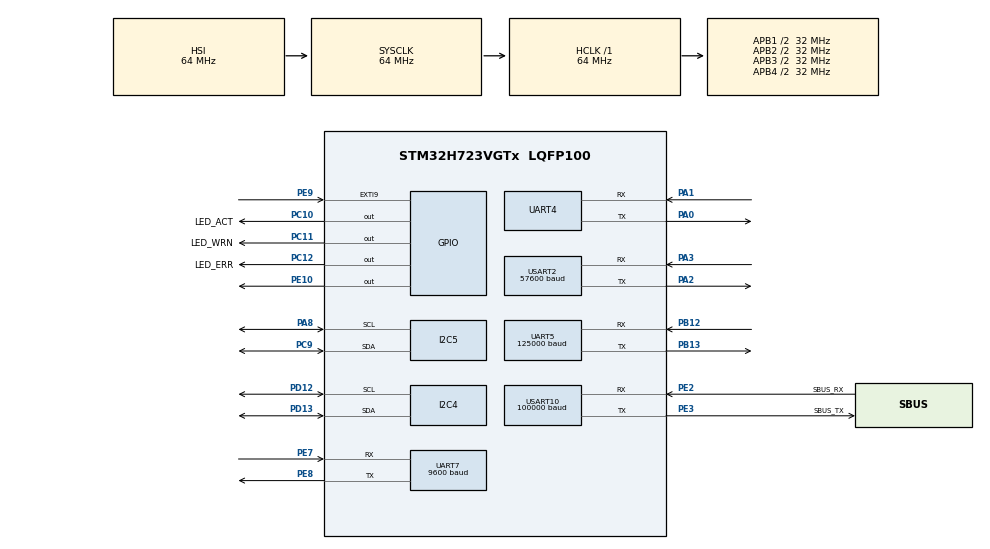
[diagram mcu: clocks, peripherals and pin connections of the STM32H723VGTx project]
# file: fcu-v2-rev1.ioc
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CORTEX_M7.AccessPermission-Cortex_Memory_Protection_Unit_Region0_Settings=MPU_REGION_FULL_ACCESS
CORTEX_M7.BaseAddress-Cortex_Memory_Protection_Unit_Region0_Settings=0x24000224
CORTEX_M7.DisableExec-Cortex_Memory_Protection_Unit_Region0_Settings=MPU_INSTRUCTION_ACCESS_DISABLE
CORTEX_M7.Enable-Cortex_Memory_Protection_Unit_Region0_Settings=MPU_REGION_ENABLE
CORTEX_M7.Enable-Cortex_Memory_Protection_Unit_Region1_Settings=__NULL
CORTEX_M7.IsShareable-Cortex_Memory_Protection_Unit_Region0_Settings=MPU_ACCESS_NOT_SHAREABLE
CORTEX_M7.MPU_Control=MPU_PRIVILEGED_DEFAULT
CORTEX_M7.Size-Cortex_Memory_Protection_Unit_Region0_Settings=MPU_REGION_SIZE_256B
I2C4.Timing=0x00707CBB
I2C5.Timing=0x00707CBB
Mcu.Family=STM32H7
Mcu.Name=STM32H723VGTx
Mcu.Package=LQFP100
NVIC.EXTI9_5_IRQn=true\:0\:0\:false\:false\:true\:true\:true\:true
NVIC.PriorityGroup=NVIC_PRIORITYGROUP_4
NVIC.UART5_IRQn=true\:0\:0\:false\:false\:true\:true\:true\:true
NVIC.UART7_IRQn=true\:0\:0\:false\:false\:true\:true\:true\:true
NVIC.USART10_IRQn=true\:0\:0\:false\:false\:true\:true\:true\:true
NVIC.USART2_IRQn=true\:0\:0\:false\:false\:true\:true\:true\:true
PA0.Mode=Asynchronous
PA0.Signal=UART4_TX
PA1.Mode=Asynchronous
PA1.Signal=UART4_RX
PA13(JTMS/SWDIO).GPIO_Label=SWDIO
PA13(JTMS/SWDIO).Mode=Serial_Wire
PA13(JTMS/SWDIO).Signal=DEBUG_JTMS-SWDIO
PA14(JTCK/SWCLK).GPIO_Label=SWCLK
PA14(JTCK/SWCLK).Mode=Serial_Wire
PA14(JTCK/SWCLK).Signal=DEBUG_JTCK-SWCLK
PA2.Mode=Asynchronous
PA2.Signal=USART2_TX
PA3.Mode=Asynchronous
PA3.Signal=USART2_RX
PA8.Mode=I2C
PA8.Signal=I2C5_SCL
PB12.Mode=Asynchronous
PB12.Signal=UART5_RX
PB13.Mode=Asynchronous
PB13.Signal=UART5_TX
PC10.GPIO_Label=LED_ACT
PC10.PinState=GPIO_PIN_SET
PC10.Signal=GPIO_Output
PC11.GPIO_Label=LED_WRN
PC11.PinState=GPIO_PIN_SET
PC11.Signal=GPIO_Output
PC12.GPIO_Label=LED_ERR
PC12.PinState=GPIO_PIN_SET
PC12.Signal=GPIO_Output
PC9.Mode=I2C
PC9.Signal=I2C5_SDA
PD12.Mode=I2C
PD12.Signal=I2C4_SCL
PD13.Mode=I2C
PD13.Signal=I2C4_SDA
PE10.Signal=GPIO_Output
PE2.GPIO_Label=SBUS_RX
PE2.Mode=Asynchronous
PE2.Signal=USART10_RX
PE3.GPIO_Label=SBUS_TX
PE3.Mode=Asynchronous
PE3.Signal=USART10_TX
PE7.Mode=Asynchronous
PE7.Signal=UART7_RX
PE8.Mode=Asynchronous
PE8.Signal=UART7_TX
PE9.GPIO_ModeDefaultEXTI=GPIO_MODE_IT_RISING_FALLING
PE9.GPIO_PuPd=GPIO_PULLDOWN
PE9.Signal=GPXTI9
ProjectManager.HeapSize=0x200
ProjectManager.StackSize=0x400
ProjectManager.TargetToolchain=STM32CubeIDE
RCC.ADCFreq_Value=129000000
RCC.APB1Freq_Value=32000000
RCC.APB2Freq_Value=32000000
RCC.APB3Freq_Value=32000000
RCC.APB4Freq_Value=32000000
RCC.CortexFreq_Value=64000000
RCC.D1PPRE=RCC_APB3_DIV2
RCC.D2PPRE1=RCC_APB1_DIV2
RCC.D2PPRE2=RCC_APB2_DIV2
RCC.D3PPRE=RCC_APB4_DIV2
RCC.DIVM1=4
RCC.DIVM3=16
RCC.DIVN1=12
RCC.DIVP1=1
RCC.HCLKFreq_Value=64000000
RCC.HSE_VALUE=50000000
RCC.PLL2FRACN=0
RCC.PLL3FRACN=0
RCC.PLLFRACN=4096
RCC.SYSCLKFreq_VALUE=64000000
RCC.USBFreq_Value=100000000
TIM3.Period=0xFFFF-1
TIM3.Prescaler=320-1
UART4.WordLength=WORDLENGTH_8B
UART5.BaudRate=125000
UART7.BaudRate=9600
USART10.BaudRate=100000
USART10.Parity=PARITY_EVEN
USART10.RxPinLevelInvertParam=ADVFEATURE_RXINV_ENABLE
USART10.StopBits=STOPBITS_1
USART10.TxPinLevelInvertParam=ADVFEATURE_TXINV_ENABLE
USART10.VirtualMode=VM_ASYNC
USART10.WordLength=WORDLENGTH_9B
USART2.BaudRate=57600
USART2.SwapParam=ADVFEATURE_SWAP_ENABLE
USART2.VirtualMode-Asynchronous=VM_ASYNC
VP_TIM3_VS_ClockSourceINT.Mode=Internal
board=custom

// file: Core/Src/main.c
/* USER CODE BEGIN Header */
/**
  ******************************************************************************
  * @file           : main.c
  * @brief          : Main program body
  ******************************************************************************
  * @attention
  *
  * Copyright (c) 2023 STMicroelectronics.
  * All rights reserved.
  *
  * This software is licensed under terms that can be found in the LICENSE file
  * in the root directory of this software component.
  * If no LICENSE file comes with this software, it is provided AS-IS.
  *
  ******************************************************************************
  */
/* USER CODE END Header */
#include "main.h"

/* USER CODE BEGIN Includes */
#include "stdio.h"
#include "stdint.h"
#include "string.h"
#include "stm32h7xx_hal.h"
#include "stm32h7xx_hal_uart.h"
#include "stm32h7xx_hal_uart_ex.h"
#include "application.h"
#include "_text.h"
#include "interrupts.h"
/* USER CODE END Includes */

I2C_HandleTypeDef hi2c4;
I2C_HandleTypeDef hi2c5;

TIM_HandleTypeDef htim3;

UART_HandleTypeDef huart4;
UART_HandleTypeDef huart5;
UART_HandleTypeDef huart7;
UART_HandleTypeDef huart2;
UART_HandleTypeDef huart10;

void SystemClock_Config(void);
static void MPU_Initialize(void);
static void MPU_Config(void);
static void MX_GPIO_Init(void);
static void MX_I2C5_Init(void);
static void MX_I2C4_Init(void);
static void MX_UART4_Init(void);
static void MX_UART7_Init(void);
static void MX_UART5_Init(void);
static void MX_USART10_UART_Init(void);
static void MX_USART2_UART_Init(void);
static void MX_TIM3_Init(void);

/* USER CODE BEGIN 0 */

void FAIL(void)
{
	debugWriteError(textClassNameCInterrupts, __LINE__, textFaultHard);
	HAL_GPIO_WritePin(GPIOC, GPIO_PIN_10, GPIO_PIN_RESET);
	HAL_GPIO_WritePin(GPIOC, GPIO_PIN_11, GPIO_PIN_RESET);
	HAL_GPIO_WritePin(GPIOC, GPIO_PIN_12, GPIO_PIN_SET);
	while (1);
}
void ASSERT(int condition)
{
	if (condition == 0)
		FAIL();
}
/* USER CODE END 0 */

int main(void)
{

  /* MCU Configuration--------------------------------------------------------*/

  /* Reset of all peripherals, Initializes the Flash interface and the Systick. */
  HAL_Init();

  /* MPU Configuration--------------------------------------------------------*/
  MPU_Config();

  /* Configure the system clock */
  SystemClock_Config();

  /* Initialize all configured peripherals */
  MX_GPIO_Init();
  MX_I2C5_Init();
  MX_I2C4_Init();
  MX_UART4_Init();
  MX_UART7_Init();
  MX_UART5_Init();
  MX_USART10_UART_Init();
  MX_USART2_UART_Init();
  MX_TIM3_Init();
  /* USER CODE BEGIN 2 */

  // configure global debugging...
  debugSetUart(&huart4);

  // ensure nvic interrupts are enabled...
  //__enable_irq();

  // enable uart interrupts...
  huart2.Instance->CR1  |= USART_CR1_RXNEIE;
  huart4.Instance->CR1  |= USART_CR1_RXNEIE;
  huart5.Instance->CR1  |= USART_CR1_RXNEIE;
  huart7.Instance->CR1  |= USART_CR1_RXNEIE;
  huart10.Instance->CR1 |= USART_CR1_RXNEIE;

  // start timer3...
  HAL_TIM_Base_Start(&htim3);

  // jump to the c++ application...
  applicationRun();

  /* USER CODE END 2 */

  /* Infinite loop */

}

void SystemClock_Config(void)
{
  RCC_OscInitTypeDef RCC_OscInitStruct = {0};
  RCC_ClkInitTypeDef RCC_ClkInitStruct = {0};

  /** Supply configuration update enable
  */
  HAL_PWREx_ConfigSupply(PWR_LDO_SUPPLY);

  /** Configure the main internal regulator output voltage
  */
  __HAL_PWR_VOLTAGESCALING_CONFIG(PWR_REGULATOR_VOLTAGE_SCALE3);

  while(!__HAL_PWR_GET_FLAG(PWR_FLAG_VOSRDY)) {}

  /** Initializes the RCC Oscillators according to the specified parameters
  * in the RCC_OscInitTypeDef structure.
  */
  RCC_OscInitStruct.OscillatorType = RCC_OSCILLATORTYPE_HSI;
  RCC_OscInitStruct.HSIState = RCC_HSI_DIV1;
  RCC_OscInitStruct.HSICalibrationValue = 64;
  RCC_OscInitStruct.PLL.PLLState = RCC_PLL_NONE;
  if (HAL_RCC_OscConfig(&RCC_OscInitStruct) != HAL_OK)
  {
    Error_Handler();
  }

  /** Initializes the CPU, AHB and APB buses clocks
  */
  RCC_ClkInitStruct.ClockType = RCC_CLOCKTYPE_HCLK|RCC_CLOCKTYPE_SYSCLK
                              |RCC_CLOCKTYPE_PCLK1|RCC_CLOCKTYPE_PCLK2
                              |RCC_CLOCKTYPE_D3PCLK1|RCC_CLOCKTYPE_D1PCLK1;
  RCC_ClkInitStruct.SYSCLKSource = RCC_SYSCLKSOURCE_HSI;
  RCC_ClkInitStruct.SYSCLKDivider = RCC_SYSCLK_DIV1;
  RCC_ClkInitStruct.AHBCLKDivider = RCC_HCLK_DIV1;
  RCC_ClkInitStruct.APB3CLKDivider = RCC_APB3_DIV2;
  RCC_ClkInitStruct.APB1CLKDivider = RCC_APB1_DIV2;
  RCC_ClkInitStruct.APB2CLKDivider = RCC_APB2_DIV2;
  RCC_ClkInitStruct.APB4CLKDivider = RCC_APB4_DIV2;

  if (HAL_RCC_ClockConfig(&RCC_ClkInitStruct, FLASH_LATENCY_1) != HAL_OK)
  {
    Error_Handler();
  }
}

static void MX_I2C4_Init(void)
{

  hi2c4.Instance = I2C4;
  hi2c4.Init.Timing = 0x00707CBB;
  hi2c4.Init.OwnAddress1 = 0;
  hi2c4.Init.AddressingMode = I2C_ADDRESSINGMODE_7BIT;
  hi2c4.Init.DualAddressMode = I2C_DUALADDRESS_DISABLE;
  hi2c4.Init.OwnAddress2 = 0;
  hi2c4.Init.OwnAddress2Masks = I2C_OA2_NOMASK;
  hi2c4.Init.GeneralCallMode = I2C_GENERALCALL_DISABLE;
  hi2c4.Init.NoStretchMode = I2C_NOSTRETCH_DISABLE;
  if (HAL_I2C_Init(&hi2c4) != HAL_OK)
  {
    Error_Handler();
  }

  /** Configure Analogue filter
  */
  if (HAL_I2CEx_ConfigAnalogFilter(&hi2c4, I2C_ANALOGFILTER_ENABLE) != HAL_OK)
  {
    Error_Handler();
  }

  /** Configure Digital filter
  */
  if (HAL_I2CEx_ConfigDigitalFilter(&hi2c4, 0) != HAL_OK)
  {
    Error_Handler();
  }

}

static void MX_I2C5_Init(void)
{

  hi2c5.Instance = I2C5;
  hi2c5.Init.Timing = 0x00707CBB;
  hi2c5.Init.OwnAddress1 = 0;
  hi2c5.Init.AddressingMode = I2C_ADDRESSINGMODE_7BIT;
  hi2c5.Init.DualAddressMode = I2C_DUALADDRESS_DISABLE;
  hi2c5.Init.OwnAddress2 = 0;
  hi2c5.Init.OwnAddress2Masks = I2C_OA2_NOMASK;
  hi2c5.Init.GeneralCallMode = I2C_GENERALCALL_DISABLE;
  hi2c5.Init.NoStretchMode = I2C_NOSTRETCH_DISABLE;
  if (HAL_I2C_Init(&hi2c5) != HAL_OK)
  {
    Error_Handler();
  }

  /** Configure Analogue filter
  */
  if (HAL_I2CEx_ConfigAnalogFilter(&hi2c5, I2C_ANALOGFILTER_ENABLE) != HAL_OK)
  {
    Error_Handler();
  }

  /** Configure Digital filter
  */
  if (HAL_I2CEx_ConfigDigitalFilter(&hi2c5, 0) != HAL_OK)
  {
    Error_Handler();
  }

}

static void MX_TIM3_Init(void)
{

  TIM_ClockConfigTypeDef sClockSourceConfig = {0};
  TIM_MasterConfigTypeDef sMasterConfig = {0};

  htim3.Instance = TIM3;
  htim3.Init.Prescaler = 320-1;
  htim3.Init.CounterMode = TIM_COUNTERMODE_UP;
  htim3.Init.Period = 0xFFFF-1;
  htim3.Init.ClockDivision = TIM_CLOCKDIVISION_DIV1;
  htim3.Init.AutoReloadPreload = TIM_AUTORELOAD_PRELOAD_DISABLE;
  if (HAL_TIM_Base_Init(&htim3) != HAL_OK)
  {
    Error_Handler();
  }
  sClockSourceConfig.ClockSource = TIM_CLOCKSOURCE_INTERNAL;
  if (HAL_TIM_ConfigClockSource(&htim3, &sClockSourceConfig) != HAL_OK)
  {
    Error_Handler();
  }
  sMasterConfig.MasterOutputTrigger = TIM_TRGO_RESET;
  sMasterConfig.MasterSlaveMode = TIM_MASTERSLAVEMODE_DISABLE;
  if (HAL_TIMEx_MasterConfigSynchronization(&htim3, &sMasterConfig) != HAL_OK)
  {
    Error_Handler();
  }

}

static void MX_UART4_Init(void)
{

  huart4.Instance = UART4;
  huart4.Init.BaudRate = 115200;
  huart4.Init.WordLength = UART_WORDLENGTH_8B;
  huart4.Init.StopBits = UART_STOPBITS_1;
  huart4.Init.Parity = UART_PARITY_NONE;
  huart4.Init.Mode = UART_MODE_TX_RX;
  huart4.Init.HwFlowCtl = UART_HWCONTROL_NONE;
  huart4.Init.OverSampling = UART_OVERSAMPLING_16;
  huart4.Init.OneBitSampling = UART_ONE_BIT_SAMPLE_DISABLE;
  huart4.Init.ClockPrescaler = UART_PRESCALER_DIV1;
  huart4.AdvancedInit.AdvFeatureInit = UART_ADVFEATURE_NO_INIT;
  if (HAL_UART_Init(&huart4) != HAL_OK)
  {
    Error_Handler();
  }
  if (HAL_UARTEx_SetTxFifoThreshold(&huart4, UART_TXFIFO_THRESHOLD_1_8) != HAL_OK)
  {
    Error_Handler();
  }
  if (HAL_UARTEx_SetRxFifoThreshold(&huart4, UART_RXFIFO_THRESHOLD_1_8) != HAL_OK)
  {
    Error_Handler();
  }
  if (HAL_UARTEx_DisableFifoMode(&huart4) != HAL_OK)
  {
    Error_Handler();
  }

}

static void MX_UART5_Init(void)
{

  huart5.Instance = UART5;
  huart5.Init.BaudRate = 125000;
  huart5.Init.WordLength = UART_WORDLENGTH_8B;
  huart5.Init.StopBits = UART_STOPBITS_1;
  huart5.Init.Parity = UART_PARITY_NONE;
  huart5.Init.Mode = UART_MODE_TX_RX;
  huart5.Init.HwFlowCtl = UART_HWCONTROL_NONE;
  huart5.Init.OverSampling = UART_OVERSAMPLING_16;
  huart5.Init.OneBitSampling = UART_ONE_BIT_SAMPLE_DISABLE;
  huart5.Init.ClockPrescaler = UART_PRESCALER_DIV1;
  huart5.AdvancedInit.AdvFeatureInit = UART_ADVFEATURE_NO_INIT;
  if (HAL_UART_Init(&huart5) != HAL_OK)
  {
    Error_Handler();
  }
  if (HAL_UARTEx_SetTxFifoThreshold(&huart5, UART_TXFIFO_THRESHOLD_1_8) != HAL_OK)
  {
    Error_Handler();
  }
  if (HAL_UARTEx_SetRxFifoThreshold(&huart5, UART_RXFIFO_THRESHOLD_1_8) != HAL_OK)
  {
    Error_Handler();
  }
  if (HAL_UARTEx_DisableFifoMode(&huart5) != HAL_OK)
  {
    Error_Handler();
  }

}

static void MX_UART7_Init(void)
{

  huart7.Instance = UART7;
  huart7.Init.BaudRate = 9600;
  huart7.Init.WordLength = UART_WORDLENGTH_8B;
  huart7.Init.StopBits = UART_STOPBITS_1;
  huart7.Init.Parity = UART_PARITY_NONE;
  huart7.Init.Mode = UART_MODE_TX_RX;
  huart7.Init.HwFlowCtl = UART_HWCONTROL_NONE;
  huart7.Init.OverSampling = UART_OVERSAMPLING_16;
  huart7.Init.OneBitSampling = UART_ONE_BIT_SAMPLE_DISABLE;
  huart7.Init.ClockPrescaler = UART_PRESCALER_DIV1;
  huart7.AdvancedInit.AdvFeatureInit = UART_ADVFEATURE_NO_INIT;
  if (HAL_UART_Init(&huart7) != HAL_OK)
  {
    Error_Handler();
  }
  if (HAL_UARTEx_SetTxFifoThreshold(&huart7, UART_TXFIFO_THRESHOLD_1_8) != HAL_OK)
  {
    Error_Handler();
  }
  if (HAL_UARTEx_SetRxFifoThreshold(&huart7, UART_RXFIFO_THRESHOLD_1_8) != HAL_OK)
  {
    Error_Handler();
  }
  if (HAL_UARTEx_DisableFifoMode(&huart7) != HAL_OK)
  {
    Error_Handler();
  }

}

static void MX_USART2_UART_Init(void)
{

  huart2.Instance = USART2;
  huart2.Init.BaudRate = 57600;
  huart2.Init.WordLength = UART_WORDLENGTH_8B;
  huart2.Init.StopBits = UART_STOPBITS_1;
  huart2.Init.Parity = UART_PARITY_NONE;
  huart2.Init.Mode = UART_MODE_TX_RX;
  huart2.Init.HwFlowCtl = UART_HWCONTROL_NONE;
  huart2.Init.OverSampling = UART_OVERSAMPLING_16;
  huart2.Init.OneBitSampling = UART_ONE_BIT_SAMPLE_DISABLE;
  huart2.Init.ClockPrescaler = UART_PRESCALER_DIV1;
  huart2.AdvancedInit.AdvFeatureInit = UART_ADVFEATURE_SWAP_INIT;
  huart2.AdvancedInit.Swap = UART_ADVFEATURE_SWAP_ENABLE;
  if (HAL_UART_Init(&huart2) != HAL_OK)
  {
    Error_Handler();
  }
  if (HAL_UARTEx_SetTxFifoThreshold(&huart2, UART_TXFIFO_THRESHOLD_1_8) != HAL_OK)
  {
    Error_Handler();
  }
  if (HAL_UARTEx_SetRxFifoThreshold(&huart2, UART_RXFIFO_THRESHOLD_1_8) != HAL_OK)
  {
    Error_Handler();
  }
  if (HAL_UARTEx_DisableFifoMode(&huart2) != HAL_OK)
  {
    Error_Handler();
  }

}

static void MX_USART10_UART_Init(void)
{

  huart10.Instance = USART10;
  huart10.Init.BaudRate = 100000;
  huart10.Init.WordLength = UART_WORDLENGTH_9B;
  huart10.Init.StopBits = UART_STOPBITS_1;
  huart10.Init.Parity = UART_PARITY_EVEN;
  huart10.Init.Mode = UART_MODE_TX_RX;
  huart10.Init.HwFlowCtl = UART_HWCONTROL_NONE;
  huart10.Init.OverSampling = UART_OVERSAMPLING_16;
  huart10.Init.OneBitSampling = UART_ONE_BIT_SAMPLE_DISABLE;
  huart10.Init.ClockPrescaler = UART_PRESCALER_DIV1;
  huart10.AdvancedInit.AdvFeatureInit = UART_ADVFEATURE_TXINVERT_INIT|UART_ADVFEATURE_RXINVERT_INIT;
  huart10.AdvancedInit.TxPinLevelInvert = UART_ADVFEATURE_TXINV_ENABLE;
  huart10.AdvancedInit.RxPinLevelInvert = UART_ADVFEATURE_RXINV_ENABLE;
  if (HAL_UART_Init(&huart10) != HAL_OK)
  {
    Error_Handler();
  }
  if (HAL_UARTEx_SetTxFifoThreshold(&huart10, UART_TXFIFO_THRESHOLD_1_8) != HAL_OK)
  {
    Error_Handler();
  }
  if (HAL_UARTEx_SetRxFifoThreshold(&huart10, UART_RXFIFO_THRESHOLD_1_8) != HAL_OK)
  {
    Error_Handler();
  }
  if (HAL_UARTEx_DisableFifoMode(&huart10) != HAL_OK)
  {
    Error_Handler();
  }

}

static void MX_GPIO_Init(void)
{
  GPIO_InitTypeDef GPIO_InitStruct = {0};

  /* GPIO Ports Clock Enable */
  __HAL_RCC_GPIOE_CLK_ENABLE();
  __HAL_RCC_GPIOA_CLK_ENABLE();
  __HAL_RCC_GPIOB_CLK_ENABLE();
  __HAL_RCC_GPIOD_CLK_ENABLE();
  __HAL_RCC_GPIOC_CLK_ENABLE();

  /*Configure GPIO pin Output Level */
  HAL_GPIO_WritePin(GPIOE, GPIO_PIN_10, GPIO_PIN_RESET);

  /*Configure GPIO pin Output Level */
  HAL_GPIO_WritePin(GPIOC, LED_ACT_Pin|LED_WRN_Pin|LED_ERR_Pin, GPIO_PIN_SET);

  /*Configure GPIO pin : PE9 */
  GPIO_InitStruct.Pin = GPIO_PIN_9;
  GPIO_InitStruct.Mode = GPIO_MODE_IT_RISING_FALLING;
  GPIO_InitStruct.Pull = GPIO_PULLDOWN;
  HAL_GPIO_Init(GPIOE, &GPIO_InitStruct);

  /*Configure GPIO pin : PE10 */
  GPIO_InitStruct.Pin = GPIO_PIN_10;
  GPIO_InitStruct.Mode = GPIO_MODE_OUTPUT_PP;
  GPIO_InitStruct.Pull = GPIO_NOPULL;
  GPIO_InitStruct.Speed = GPIO_SPEED_FREQ_LOW;
  HAL_GPIO_Init(GPIOE, &GPIO_InitStruct);

  /*Configure GPIO pins : LED_ACT_Pin LED_WRN_Pin LED_ERR_Pin */
  GPIO_InitStruct.Pin = LED_ACT_Pin|LED_WRN_Pin|LED_ERR_Pin;
  GPIO_InitStruct.Mode = GPIO_MODE_OUTPUT_PP;
  GPIO_InitStruct.Pull = GPIO_NOPULL;
  GPIO_InitStruct.Speed = GPIO_SPEED_FREQ_LOW;
  HAL_GPIO_Init(GPIOC, &GPIO_InitStruct);

  /* EXTI interrupt init*/
  HAL_NVIC_SetPriority(EXTI9_5_IRQn, 0, 0);
  HAL_NVIC_EnableIRQ(EXTI9_5_IRQn);

}

/* MPU Configuration */

void MPU_Config(void)
{
  MPU_Region_InitTypeDef MPU_InitStruct = {0};

  /* Disables the MPU */
  HAL_MPU_Disable();

  /** Initializes and configures the Region and the memory to be protected
  */
  MPU_InitStruct.Enable = MPU_REGION_ENABLE;
  MPU_InitStruct.Number = MPU_REGION_NUMBER0;
  MPU_InitStruct.BaseAddress = 0x24000224;
  MPU_InitStruct.Size = MPU_REGION_SIZE_256B;
  MPU_InitStruct.SubRegionDisable = 0x0;
  MPU_InitStruct.TypeExtField = MPU_TEX_LEVEL0;
  MPU_InitStruct.AccessPermission = MPU_REGION_FULL_ACCESS;
  MPU_InitStruct.DisableExec = MPU_INSTRUCTION_ACCESS_DISABLE;
  MPU_InitStruct.IsShareable = MPU_ACCESS_NOT_SHAREABLE;
  MPU_InitStruct.IsCacheable = MPU_ACCESS_NOT_CACHEABLE;
  MPU_InitStruct.IsBufferable = MPU_ACCESS_NOT_BUFFERABLE;

  HAL_MPU_ConfigRegion(&MPU_InitStruct);
  /* Enables the MPU */
  HAL_MPU_Enable(MPU_PRIVILEGED_DEFAULT);

}

void Error_Handler(void)
{
  /* USER CODE BEGIN Error_Handler_Debug */
  /* User can add his own implementation to report the HAL error return state */
  debugWriteError("main", __LINE__, "error trapped");
  while (1)
  {
  }
  /* USER CODE END Error_Handler_Debug */
}
